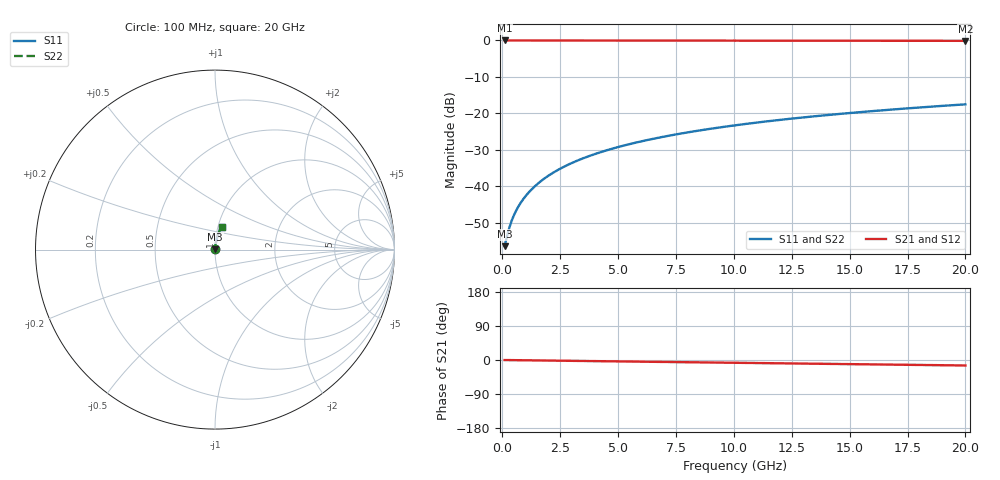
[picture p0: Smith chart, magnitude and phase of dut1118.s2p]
! Touchstone file exported from HFSS 2026.1.0
!  File:  C:/ffzhzh/LocalFiles/Ansys_Project_Files/temp_train_TMRDL_1118_1783161540_18472.aedt
!  Generated:  06:40:17 PM Jul  4, 2026
!  Design:  TMRDL
!  Project:  temp_train_TMRDL_1118_1783161540_18472
! Variables:
!  h_bsmrdl = 2um
!  h_ox = 20um
!  h_rdl = 5um
!  h_sub = 80um
!  h_tmrdl = 2.46um
!  h_tsv = 80um
!  h_via = 3um
!  l_bsmrdl = 300um
!  l_sub = 579.18um
!  l_tmrdl = 179.18um
!  m_sub = 200um
!  pitch = 49.01um
!  r_tsv = 6um
!  s_tmrdl = 10um
!  w_bsmrdl = 18um
!  w_sub = 500um
!  w_tmrdl = 28.1um
!  x_tsv_center1 = 193.23um
!  x_tsv_center2 = 511.23um
!  x_tsv_center3 = 718.51um
!  x_tsv_center4 = 1036.51um
!  x_tsv_center5 = 1243.79um
!  x_tsv_center6 = 1561.79um
# GHz S MA R 50.000000
! Terminal data exported
! Port[1] = TM_RDL1_1_T1
! Port[2] = TM_RDL1_1_T2
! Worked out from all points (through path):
!   200 points, 100 MHz to 20 GHz, reference 50 ohm
!   highest |S21| = -0.01 dB at 100 MHz (marker M1); lowest = -0.1 dB at 20 GHz (marker M2)
!   group delay of S21, straight-line fit = 2.01 ps
!   lowest |S11| = -56.4 dB at 100 MHz (marker M3), VSWR 1.00, Z = 50.1 + j0.0788 ohm
!   |S11| at or under -10 dB: start of sweep to end of sweep
!   |S22| runs from -56.4 to -17.5 dB; largest |S21 - S12| = 1.7e-15
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0.1  0.001522 31.1  0.9987 -0.1  0.9987 -0.1  0.001522 31.1
! Gamma 0 0 0 0
! Port Impedance 50 0 50 0
0.2  0.002061 48.9  0.9986 -0.2  0.9986 -0.2  0.002061 48.9
0.3  0.002699 58.2  0.9986 -0.2  0.9986 -0.2  0.002699 58.2
0.4  0.00336 63.6  0.9985 -0.3  0.9985 -0.3  0.00336 63.6
0.5  0.004023 67.2  0.9985 -0.4  0.9985 -0.4  0.004023 67.2
0.6  0.004685 69.9  0.9984 -0.5  0.9984 -0.5  0.004685 69.9
0.8  0.006008 73.5  0.9983 -0.6  0.9983 -0.6  0.006008 73.5
1.1  0.008006 76.8  0.9983 -0.8  0.9983 -0.8  0.008006 76.8
1.3  0.00935 78.3  0.9982 -1.0  0.9982 -1.0  0.009349 78.3
1.6  0.01138 79.8  0.9982 -1.2  0.9982 -1.2  0.01138 79.8
2.1  0.01478 81.4  0.9981 -1.6  0.9981 -1.6  0.01478 81.4
2.7  0.01888 82.3  0.9979 -2.0  0.9979 -2.0  0.01888 82.3
3.5  0.02437 82.8  0.9978 -2.6  0.9978 -2.6  0.02437 82.8
4.2  0.02917 82.9  0.9976 -3.1  0.9976 -3.1  0.02916 82.9
5  0.03464 82.8  0.9973 -3.7  0.9973 -3.7  0.03464 82.8
5.9  0.04078 82.5  0.9969 -4.3  0.9969 -4.3  0.04078 82.5
6.8  0.04689 82.1  0.9965 -5.0  0.9965 -5.0  0.04689 82.1
8.3  0.05703 81.3  0.9958 -6.1  0.9958 -6.1  0.05703 81.3
10.1  0.06909 80.2  0.9947 -7.4  0.9947 -7.4  0.06909 80.2
13.4  0.09088 78.1  0.9925 -9.8  0.9925 -9.8  0.09088 78.1
16.7  0.1123 75.9  0.9898 -12.1  0.9898 -12.1  0.1123 75.9
20  0.1332 73.6  0.9867 -14.5  0.9867 -14.5  0.1332 73.7
